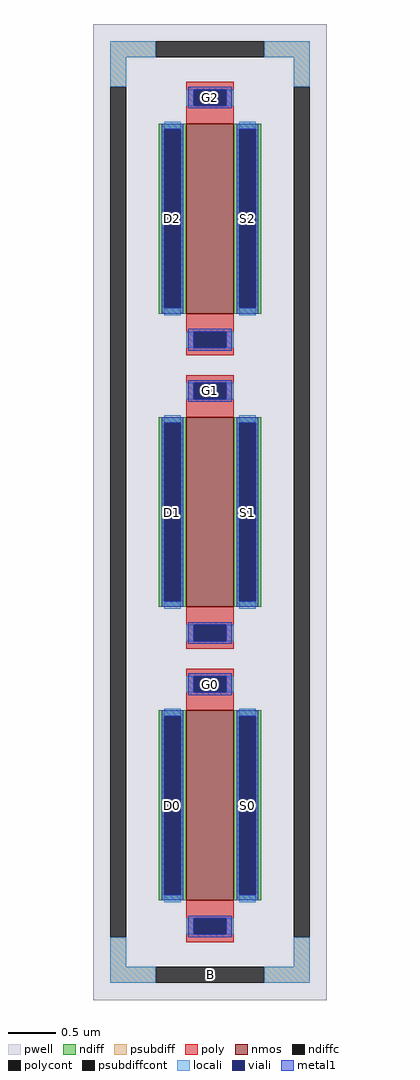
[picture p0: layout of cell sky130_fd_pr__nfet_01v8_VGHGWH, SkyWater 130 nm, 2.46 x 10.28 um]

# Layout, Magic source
magic
tech sky130A
magscale 1 2
<< pwell >>
rect -246 -1028 246 1028
<< nmos >>
rect -50 418 50 818
rect -50 -200 50 200
rect -50 -818 50 -418
<< ndiff >>
rect -108 806 -50 818
rect -108 430 -96 806
rect -62 430 -50 806
rect -108 418 -50 430
rect 50 806 108 818
rect 50 430 62 806
rect 96 430 108 806
rect 50 418 108 430
rect -108 188 -50 200
rect -108 -188 -96 188
rect -62 -188 -50 188
rect -108 -200 -50 -188
rect 50 188 108 200
rect 50 -188 62 188
rect 96 -188 108 188
rect 50 -200 108 -188
rect -108 -430 -50 -418
rect -108 -806 -96 -430
rect -62 -806 -50 -430
rect -108 -818 -50 -806
rect 50 -430 108 -418
rect 50 -806 62 -430
rect 96 -806 108 -430
rect 50 -818 108 -806
<< ndiffc >>
rect -96 430 -62 806
rect 62 430 96 806
rect -96 -188 -62 188
rect 62 -188 96 188
rect -96 -806 -62 -430
rect 62 -806 96 -430
<< psubdiff >>
rect -210 958 -114 992
rect 114 958 210 992
rect -210 896 -176 958
rect 176 896 210 958
rect -210 -958 -176 -896
rect 176 -958 210 -896
rect -210 -992 -114 -958
rect 114 -992 210 -958
<< psubdiffcont >>
rect -114 958 114 992
rect -210 -896 -176 896
rect 176 -896 210 896
rect -114 -992 114 -958
<< poly >>
rect -50 890 50 906
rect -50 856 -34 890
rect 34 856 50 890
rect -50 818 50 856
rect -50 380 50 418
rect -50 346 -34 380
rect 34 346 50 380
rect -50 330 50 346
rect -50 272 50 288
rect -50 238 -34 272
rect 34 238 50 272
rect -50 200 50 238
rect -50 -238 50 -200
rect -50 -272 -34 -238
rect 34 -272 50 -238
rect -50 -288 50 -272
rect -50 -346 50 -330
rect -50 -380 -34 -346
rect 34 -380 50 -346
rect -50 -418 50 -380
rect -50 -856 50 -818
rect -50 -890 -34 -856
rect 34 -890 50 -856
rect -50 -906 50 -890
<< polycont >>
rect -34 856 34 890
rect -34 346 34 380
rect -34 238 34 272
rect -34 -272 34 -238
rect -34 -380 34 -346
rect -34 -890 34 -856
<< locali >>
rect -210 958 -114 992
rect 114 958 210 992
rect -210 896 -176 958
rect 176 896 210 958
rect -50 856 -34 890
rect 34 856 50 890
rect -96 806 -62 822
rect -96 414 -62 430
rect 62 806 96 822
rect 62 414 96 430
rect -50 346 -34 380
rect 34 346 50 380
rect -50 238 -34 272
rect 34 238 50 272
rect -96 188 -62 204
rect -96 -204 -62 -188
rect 62 188 96 204
rect 62 -204 96 -188
rect -50 -272 -34 -238
rect 34 -272 50 -238
rect -50 -380 -34 -346
rect 34 -380 50 -346
rect -96 -430 -62 -414
rect -96 -822 -62 -806
rect 62 -430 96 -414
rect 62 -822 96 -806
rect -50 -890 -34 -856
rect 34 -890 50 -856
rect -210 -958 -176 -896
rect 176 -958 210 -896
rect -210 -992 -114 -958
rect 114 -992 210 -958
<< viali >>
rect -34 856 34 890
rect -96 430 -62 806
rect 62 430 96 806
rect -34 346 34 380
rect -34 238 34 272
rect -96 -188 -62 188
rect 62 -188 96 188
rect -34 -272 34 -238
rect -34 -380 34 -346
rect -96 -806 -62 -430
rect 62 -806 96 -430
rect -34 -890 34 -856
<< metal1 >>
rect -46 890 46 896
rect -46 856 -34 890
rect 34 856 46 890
rect -46 850 46 856
rect -102 806 -56 818
rect -102 430 -96 806
rect -62 430 -56 806
rect -102 418 -56 430
rect 56 806 102 818
rect 56 430 62 806
rect 96 430 102 806
rect 56 418 102 430
rect -46 380 46 386
rect -46 346 -34 380
rect 34 346 46 380
rect -46 340 46 346
rect -46 272 46 278
rect -46 238 -34 272
rect 34 238 46 272
rect -46 232 46 238
rect -102 188 -56 200
rect -102 -188 -96 188
rect -62 -188 -56 188
rect -102 -200 -56 -188
rect 56 188 102 200
rect 56 -188 62 188
rect 96 -188 102 188
rect 56 -200 102 -188
rect -46 -238 46 -232
rect -46 -272 -34 -238
rect 34 -272 46 -238
rect -46 -278 46 -272
rect -46 -346 46 -340
rect -46 -380 -34 -346
rect 34 -380 46 -346
rect -46 -386 46 -380
rect -102 -430 -56 -418
rect -102 -806 -96 -430
rect -62 -806 -56 -430
rect -102 -818 -56 -806
rect 56 -430 102 -418
rect 56 -806 62 -430
rect 96 -806 102 -430
rect 56 -818 102 -806
rect -46 -856 46 -850
rect -46 -890 -34 -856
rect 34 -890 46 -856
rect -46 -896 46 -890
<< labels >>
rlabel psubdiffcont 0 -975 0 -975 0 B
port 1 nsew
rlabel ndiffc -79 -618 -79 -618 0 D0
port 2 nsew
rlabel ndiffc 79 -618 79 -618 0 S0
port 3 nsew
rlabel polycont 0 -363 0 -363 0 G0
port 4 nsew
rlabel ndiffc -79 0 -79 0 0 D1
port 5 nsew
rlabel ndiffc 79 0 79 0 0 S1
port 6 nsew
rlabel polycont 0 255 0 255 0 G1
port 7 nsew
rlabel ndiffc -79 618 -79 618 0 D2
port 8 nsew
rlabel ndiffc 79 618 79 618 0 S2
port 9 nsew
rlabel polycont 0 873 0 873 0 G2
port 10 nsew
<< properties >>
string FIXED_BBOX -193 -975 193 975
string gencell sky130_fd_pr__nfet_01v8
string library sky130
string parameters w 2 l 0.5 m 3 nf 1 diffcov 100 polycov 100 guard 1 glc 1 grc 1 gtc 1 gbc 1 tbcov 100 rlcov 100 topc 1 botc 1 poverlap 0 doverlap 1 lmin 0.15 wmin 0.42 class mosfet compatible {sky130_fd_pr__nfet_01v8 sky130_fd_pr__nfet_01v8_lvt  sky130_fd_bs_flash__special_sonosfet_star  sky130_fd_pr__nfet_g5v0d10v5 sky130_fd_pr__nfet_05v0_nvt  sky130_fd_pr__nfet_03v3_nvt} full_metal 1 conn_gates 0 viasrc 100 viadrn 100 viagate 100 viagb 0 viagr 0 viagl 0 viagt 0 doports 1
<< end >>
